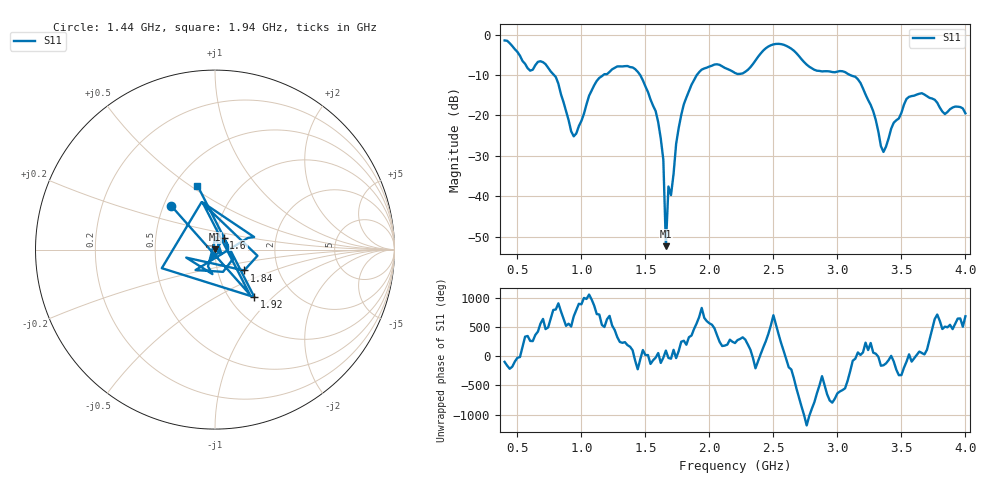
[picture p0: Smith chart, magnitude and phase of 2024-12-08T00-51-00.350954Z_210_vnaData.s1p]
!Created with skrf (http://scikit-rf.org).
# Hz S RI R 50.0
!freq ReS11 ImS11
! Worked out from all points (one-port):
!   181 points, 400 MHz to 4 GHz, reference 50 ohm
!   lowest |S11| = -52.4 dB at 1.66 GHz (marker M1), VSWR 1.00, Z = 50 + j0.239 ohm
!   |S11| at or under -10 dB: 785.6 MHz to 1.171 GHz (385.4 MHz wide, 39.4 % of centre); 1.459 GHz to 1.902 GHz (442.2 MHz wide, 26.3 % of centre); 3.1 GHz to end of sweep
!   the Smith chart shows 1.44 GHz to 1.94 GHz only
!   S11 on the Smith chart (normalised r, x): 1.44 GHz: 0.55, +0.30; 1.6 GHz: 1.09, +0.15; 1.84 GHz: 1.34, -0.33; 1.92 GHz: 1.30, -0.78; 1.94 GHz: 0.65, +0.54
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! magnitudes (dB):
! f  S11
! 400 MHz  -1.4
! 600 MHz  -8.9
! 720 MHz  -7.3
! 800 MHz  -10.5
! 860 MHz  -16.7
! 940 MHz  -25.2
! 1.12 GHz  -11.4
! 1.3 GHz  -7.8
! 1.44 GHz  -9.2
! 1.6 GHz  -21.7
! 1.64 GHz  -31.0
! 1.66 GHz  -52.4
! 1.68 GHz  -37.6
! 1.7 GHz  -39.7
! 1.76 GHz  -23.1
! 1.84 GHz  -14.0
! 1.92 GHz  -9.3
! 1.94 GHz  -8.6
! 2.2 GHz  -9.5
! 2.48 GHz  -2.6
! 2.66 GHz  -4.0
! 2.82 GHz  -8.7
! 3.1 GHz  -10.0
! 3.26 GHz  -17.4
! 3.36 GHz  -29.0
! 3.56 GHz  -15.4
! 3.66 GHz  -14.5
! 4 GHz  -19.5
